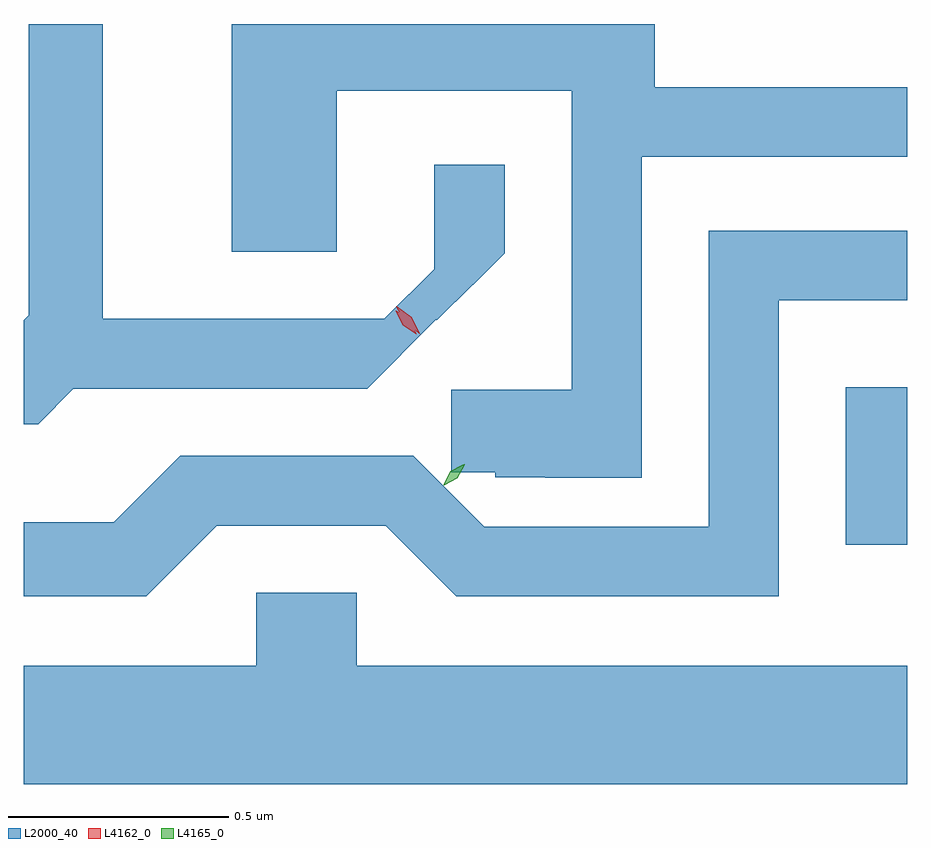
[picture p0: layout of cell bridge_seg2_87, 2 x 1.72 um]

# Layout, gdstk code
import gdstk
lib = gdstk.Library(unit=1e-6, precision=1e-09)
def R(c, l, rs):  # rectangles x0, y0, x1, y1
    for r in rs: c.add(gdstk.rectangle(r[:2], r[2:], *l))
def P(c, l, *ps):  # polygons
    for p in ps: c.add(gdstk.Polygon(p, *l))
L2000_40 = (2000, 40)
L4162_0 = (4162, 0)
L4165_0 = (4165, 0)

bridge_seg2_87 = lib.new_cell('bridge_seg2_87')
R(bridge_seg2_87, L2000_40, [(1224.691,1088.818,1224.83,1089.174)])
P(bridge_seg2_87, L2000_40, [(1224.229,1089.696),(1224.83,1089.696),(1224.83,1089.854),(1224.259,1089.854),(1224.259,1089.997),(1223.301,1089.997),(1223.301,1089.481),(1223.539,1089.481),(1223.539,1089.846),(1224.071,1089.846),(1224.071,1089.169),(1223.798,1089.169),(1223.798,1088.982),(1223.897,1088.982),(1223.897,1088.971),(1224.011,1088.971),(1224.011,1088.97),(1224.229,1088.97)],
  [(1222.942,1089.171),(1223.607,1089.171),(1223.763,1089.327),(1223.765,1089.326),(1223.847,1089.408),(1223.848,1089.407),(1223.919,1089.478),(1223.919,1089.678),(1223.759,1089.678),(1223.759,1089.442),(1223.646,1089.329),(1223.009,1089.329),(1223.009,1089.997),(1222.841,1089.997),(1222.841,1089.337),(1222.83,1089.326),(1222.83,1089.091),(1222.862,1089.091)],
  [(1223.267,1088.861),(1223.649,1088.861),(1223.809,1088.701),(1224.539,1088.701),(1224.539,1089.371),(1224.83,1089.371),(1224.83,1089.529),(1224.381,1089.529),(1224.381,1088.859),(1223.872,1088.859),(1223.712,1089.019),(1223.184,1089.019),(1223.034,1088.869),(1222.83,1088.869),(1222.83,1088.701),(1223.107,1088.701)],
  [(1224.83,1088.544),(1223.584,1088.544),(1223.584,1088.709),(1223.356,1088.709),(1223.356,1088.544),(1222.83,1088.544),(1222.83,1088.276),(1224.83,1088.276)])
P(bridge_seg2_87, L4162_0, [(1223.727,1089.294),(1223.693,1089.32),(1223.673,1089.357),(1223.673,1089.358),(1223.674,1089.358),(1223.708,1089.333),(1223.728,1089.295),(1223.728,1089.294)],
  [(1223.719,1089.295),(1223.688,1089.315),(1223.672,1089.348),(1223.672,1089.348),(1223.673,1089.348),(1223.703,1089.328),(1223.719,1089.296),(1223.719,1089.295)])
P(bridge_seg2_87, L4165_0, [(1223.781,1088.952),(1223.781,1088.952),(1223.797,1088.982),(1223.827,1089),(1223.828,1089),(1223.828,1088.999),(1223.811,1088.968),(1223.782,1088.952)],
  [(1223.781,1088.954),(1223.781,1088.955),(1223.796,1088.984),(1223.824,1088.999),(1223.825,1088.999),(1223.825,1088.998),(1223.81,1088.969),(1223.782,1088.954)])

lib.write_gds('bridge_seg2_87.gds')
